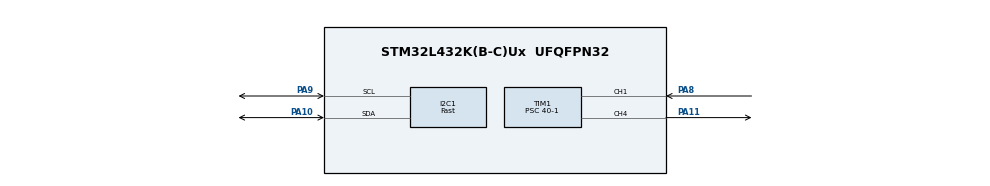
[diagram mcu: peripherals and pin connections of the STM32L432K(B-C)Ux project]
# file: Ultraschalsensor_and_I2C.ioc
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Dma.Request0=TIM1_CH4/TRIG/COM
Dma.TIM1_CH4/TRIG/COM.0.Direction=DMA_MEMORY_TO_PERIPH
Dma.TIM1_CH4/TRIG/COM.0.Instance=DMA1_Channel4
Dma.TIM1_CH4/TRIG/COM.0.MemDataAlignment=DMA_MDATAALIGN_HALFWORD
Dma.TIM1_CH4/TRIG/COM.0.MemInc=DMA_MINC_ENABLE
Dma.TIM1_CH4/TRIG/COM.0.Mode=DMA_NORMAL
Dma.TIM1_CH4/TRIG/COM.0.PeriphDataAlignment=DMA_PDATAALIGN_HALFWORD
Dma.TIM1_CH4/TRIG/COM.0.PeriphInc=DMA_PINC_DISABLE
Dma.TIM1_CH4/TRIG/COM.0.Priority=DMA_PRIORITY_LOW
I2C1.I2C_Fall_Time=0
I2C1.I2C_Rise_Time=0
I2C1.I2C_Speed_Mode=I2C_Fast
I2C1.OwnAddress=0x28
I2C1.Timing=0x00000004
Mcu.Family=STM32L4
Mcu.Name=STM32L432K(B-C)Ux
Mcu.Package=UFQFPN32
NVIC.DMA1_Channel4_IRQn=true\:0\:0\:false\:false\:true\:false\:true\:true
NVIC.I2C1_EV_IRQn=true\:0\:0\:false\:false\:true\:true\:true\:true
NVIC.PriorityGroup=NVIC_PRIORITYGROUP_4
PA10.GPIO_Pu=GPIO_PULLUP
PA10.GPIO_Speed=GPIO_SPEED_FREQ_HIGH
PA10.Mode=I2C
PA10.Signal=I2C1_SDA
PA11.Signal=S_TIM1_CH4
PA8.Signal=S_TIM1_CH1
PA9.GPIO_Pu=GPIO_PULLUP
PA9.GPIO_Speed=GPIO_SPEED_FREQ_HIGH
PA9.Mode=I2C
PA9.Signal=I2C1_SCL
ProjectManager.HeapSize=0x200
ProjectManager.StackSize=0x400
ProjectManager.TargetToolchain=STM32CubeIDE
RCC.HSE_VALUE=8000000
RCC.HSI48_VALUE=48000000
RCC.HSI_VALUE=16000000
RCC.LSE_VALUE=32768
RCC.MSI_VALUE=4000000
RCC.VCOOutputFreq_Value=32000000
SH.S_TIM1_CH1.0=TIM1_CH1,PWM_Input_1
SH.S_TIM1_CH4.0=TIM1_CH4,PWM Generation4 CH4
TIM1.Channel-PWM\ Generation4\ CH4=TIM_CHANNEL_4
TIM1.Period=10000-1
TIM1.Prescaler=40-1
VP_TIM1_VS_ClockSourceINT.Mode=Internal
board=custom

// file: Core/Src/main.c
/* USER CODE BEGIN Header */
/**
  ******************************************************************************
  * @file           : main.c
  * @brief          : Main program body
  ******************************************************************************
  * @attention
  *
  * Copyright (c) 2023 STMicroelectronics.
  * All rights reserved.
  *
  * This software is licensed under terms that can be found in the LICENSE file
  * in the root directory of this software component.
  * If no LICENSE file comes with this software, it is provided AS-IS.
  *
  ******************************************************************************
  */
/* USER CODE END Header */
#include "main.h"

I2C_HandleTypeDef hi2c1;

TIM_HandleTypeDef htim1;
DMA_HandleTypeDef hdma_tim1_ch4_trig_com;

/* USER CODE BEGIN PV */
// distanze var
uint32_t distance_mm;
// DATA Buffer to send
uint8_t I2C_Buffer [4];
/* USER CODE END PV */

void SystemClock_Config(void);
static void MX_GPIO_Init(void);
static void MX_DMA_Init(void);
static void MX_TIM1_Init(void);
static void MX_I2C1_Init(void);

/* USER CODE BEGIN 0 */
void HAL_TIM_IC_CaptureCallback(TIM_HandleTypeDef *htim)
{
	if ((htim->Instance == TIM1) && (htim->Channel == HAL_TIM_ACTIVE_CHANNEL_2))
	{ // timer counter counts 10μs
		uint32_t lo = HAL_TIM_ReadCapturedValue( htim, TIM_CHANNEL_2 );
		distance_mm = ((343.2 * 1000) * (lo * 0.00001))/2;
	}
}
void processMasterRequest(void)
{
	// chance datatype from uint32_t into uint8_t
	// the uint32_t var can now send Byte by Byte
	I2C_Buffer[0] = (distance_mm >> 24) & 0xFF;
	I2C_Buffer[1] = (distance_mm >> 16) & 0xFF;
	I2C_Buffer[2] = (distance_mm >> 8) & 0xFF;
	I2C_Buffer[3] = distance_mm & 0xFF;
	// send data
	HAL_I2C_Slave_Transmit(&hi2c1, I2C_Buffer, 4, HAL_MAX_DELAY);
}
/* USER CODE END 0 */

int main(void)
{

  /* MCU Configuration--------------------------------------------------------*/

  /* Reset of all peripherals, Initializes the Flash interface and the Systick. */
  HAL_Init();

  /* Configure the system clock */
  SystemClock_Config();

  /* Initialize all configured peripherals */
  MX_GPIO_Init();
  MX_DMA_Init();
  MX_TIM1_Init();
  MX_I2C1_Init();
  /* USER CODE BEGIN 2 */
  // Duty cycle von 10 Prozent
  TIM1->CCR4 = 8000;

  // startet timer auf chanel 4
  HAL_TIM_PWM_Start(&htim1, TIM_CHANNEL_4);

  // startet timer auf chanel 1 und 2
  HAL_TIM_IC_Start(&htim1, TIM_CHANNEL_1);
  HAL_TIM_IC_Start_IT(&htim1, TIM_CHANNEL_2);
  /* USER CODE END 2 */

  /* Infinite loop */
  while (1)
  {

    /* USER CODE BEGIN 3 */
	  // checks if this Board is collectet
	  if (HAL_I2C_Slave_Transmit(&hi2c1, I2C_Buffer, sizeof(I2C_Buffer), HAL_MAX_DELAY) == HAL_OK)
	  {
		  processMasterRequest();
	  }
  }
  /* USER CODE END 3 */
}

void SystemClock_Config(void)
{
  RCC_OscInitTypeDef RCC_OscInitStruct = {0};
  RCC_ClkInitTypeDef RCC_ClkInitStruct = {0};

  /** Configure the main internal regulator output voltage
  */
  if (HAL_PWREx_ControlVoltageScaling(PWR_REGULATOR_VOLTAGE_SCALE1) != HAL_OK)
  {
    Error_Handler();
  }

  /** Initializes the RCC Oscillators according to the specified parameters
  * in the RCC_OscInitTypeDef structure.
  */
  RCC_OscInitStruct.OscillatorType = RCC_OSCILLATORTYPE_MSI;
  RCC_OscInitStruct.MSIState = RCC_MSI_ON;
  RCC_OscInitStruct.MSICalibrationValue = 0;
  RCC_OscInitStruct.MSIClockRange = RCC_MSIRANGE_6;
  RCC_OscInitStruct.PLL.PLLState = RCC_PLL_NONE;
  if (HAL_RCC_OscConfig(&RCC_OscInitStruct) != HAL_OK)
  {
    Error_Handler();
  }

  /** Initializes the CPU, AHB and APB buses clocks
  */
  RCC_ClkInitStruct.ClockType = RCC_CLOCKTYPE_HCLK|RCC_CLOCKTYPE_SYSCLK
                              |RCC_CLOCKTYPE_PCLK1|RCC_CLOCKTYPE_PCLK2;
  RCC_ClkInitStruct.SYSCLKSource = RCC_SYSCLKSOURCE_MSI;
  RCC_ClkInitStruct.AHBCLKDivider = RCC_SYSCLK_DIV1;
  RCC_ClkInitStruct.APB1CLKDivider = RCC_HCLK_DIV1;
  RCC_ClkInitStruct.APB2CLKDivider = RCC_HCLK_DIV1;

  if (HAL_RCC_ClockConfig(&RCC_ClkInitStruct, FLASH_LATENCY_0) != HAL_OK)
  {
    Error_Handler();
  }
}

static void MX_I2C1_Init(void)
{

  hi2c1.Instance = I2C1;
  hi2c1.Init.Timing = 0x00000004;
  hi2c1.Init.OwnAddress1 = 80;
  hi2c1.Init.AddressingMode = I2C_ADDRESSINGMODE_7BIT;
  hi2c1.Init.DualAddressMode = I2C_DUALADDRESS_DISABLE;
  hi2c1.Init.OwnAddress2 = 0;
  hi2c1.Init.OwnAddress2Masks = I2C_OA2_NOMASK;
  hi2c1.Init.GeneralCallMode = I2C_GENERALCALL_DISABLE;
  hi2c1.Init.NoStretchMode = I2C_NOSTRETCH_DISABLE;
  if (HAL_I2C_Init(&hi2c1) != HAL_OK)
  {
    Error_Handler();
  }

  /** Configure Analogue filter
  */
  if (HAL_I2CEx_ConfigAnalogFilter(&hi2c1, I2C_ANALOGFILTER_ENABLE) != HAL_OK)
  {
    Error_Handler();
  }

  /** Configure Digital filter
  */
  if (HAL_I2CEx_ConfigDigitalFilter(&hi2c1, 0) != HAL_OK)
  {
    Error_Handler();
  }

}

static void MX_TIM1_Init(void)
{

  TIM_ClockConfigTypeDef sClockSourceConfig = {0};
  TIM_SlaveConfigTypeDef sSlaveConfig = {0};
  TIM_IC_InitTypeDef sConfigIC = {0};
  TIM_MasterConfigTypeDef sMasterConfig = {0};
  TIM_OC_InitTypeDef sConfigOC = {0};
  TIM_BreakDeadTimeConfigTypeDef sBreakDeadTimeConfig = {0};

  htim1.Instance = TIM1;
  htim1.Init.Prescaler = 40-1;
  htim1.Init.CounterMode = TIM_COUNTERMODE_UP;
  htim1.Init.Period = 10000-1;
  htim1.Init.ClockDivision = TIM_CLOCKDIVISION_DIV1;
  htim1.Init.RepetitionCounter = 0;
  htim1.Init.AutoReloadPreload = TIM_AUTORELOAD_PRELOAD_DISABLE;
  if (HAL_TIM_Base_Init(&htim1) != HAL_OK)
  {
    Error_Handler();
  }
  sClockSourceConfig.ClockSource = TIM_CLOCKSOURCE_INTERNAL;
  if (HAL_TIM_ConfigClockSource(&htim1, &sClockSourceConfig) != HAL_OK)
  {
    Error_Handler();
  }
  if (HAL_TIM_PWM_Init(&htim1) != HAL_OK)
  {
    Error_Handler();
  }
  if (HAL_TIM_IC_Init(&htim1) != HAL_OK)
  {
    Error_Handler();
  }
  sSlaveConfig.SlaveMode = TIM_SLAVEMODE_RESET;
  sSlaveConfig.InputTrigger = TIM_TS_TI1FP1;
  sSlaveConfig.TriggerPolarity = TIM_INPUTCHANNELPOLARITY_RISING;
  sSlaveConfig.TriggerPrescaler = TIM_ICPSC_DIV1;
  sSlaveConfig.TriggerFilter = 0;
  if (HAL_TIM_SlaveConfigSynchro(&htim1, &sSlaveConfig) != HAL_OK)
  {
    Error_Handler();
  }
  sConfigIC.ICPolarity = TIM_INPUTCHANNELPOLARITY_RISING;
  sConfigIC.ICSelection = TIM_ICSELECTION_DIRECTTI;
  sConfigIC.ICPrescaler = TIM_ICPSC_DIV1;
  sConfigIC.ICFilter = 0;
  if (HAL_TIM_IC_ConfigChannel(&htim1, &sConfigIC, TIM_CHANNEL_1) != HAL_OK)
  {
    Error_Handler();
  }
  sConfigIC.ICPolarity = TIM_INPUTCHANNELPOLARITY_FALLING;
  sConfigIC.ICSelection = TIM_ICSELECTION_INDIRECTTI;
  if (HAL_TIM_IC_ConfigChannel(&htim1, &sConfigIC, TIM_CHANNEL_2) != HAL_OK)
  {
    Error_Handler();
  }
  sMasterConfig.MasterOutputTrigger = TIM_TRGO_RESET;
  sMasterConfig.MasterOutputTrigger2 = TIM_TRGO2_RESET;
  sMasterConfig.MasterSlaveMode = TIM_MASTERSLAVEMODE_DISABLE;
  if (HAL_TIMEx_MasterConfigSynchronization(&htim1, &sMasterConfig) != HAL_OK)
  {
    Error_Handler();
  }
  sConfigOC.OCMode = TIM_OCMODE_PWM1;
  sConfigOC.Pulse = 0;
  sConfigOC.OCPolarity = TIM_OCPOLARITY_HIGH;
  sConfigOC.OCFastMode = TIM_OCFAST_DISABLE;
  sConfigOC.OCIdleState = TIM_OCIDLESTATE_RESET;
  sConfigOC.OCNIdleState = TIM_OCNIDLESTATE_RESET;
  if (HAL_TIM_PWM_ConfigChannel(&htim1, &sConfigOC, TIM_CHANNEL_4) != HAL_OK)
  {
    Error_Handler();
  }
  sBreakDeadTimeConfig.OffStateRunMode = TIM_OSSR_DISABLE;
  sBreakDeadTimeConfig.OffStateIDLEMode = TIM_OSSI_DISABLE;
  sBreakDeadTimeConfig.LockLevel = TIM_LOCKLEVEL_OFF;
  sBreakDeadTimeConfig.DeadTime = 0;
  sBreakDeadTimeConfig.BreakState = TIM_BREAK_DISABLE;
  sBreakDeadTimeConfig.BreakPolarity = TIM_BREAKPOLARITY_HIGH;
  sBreakDeadTimeConfig.BreakFilter = 0;
  sBreakDeadTimeConfig.Break2State = TIM_BREAK2_DISABLE;
  sBreakDeadTimeConfig.Break2Polarity = TIM_BREAK2POLARITY_HIGH;
  sBreakDeadTimeConfig.Break2Filter = 0;
  sBreakDeadTimeConfig.AutomaticOutput = TIM_AUTOMATICOUTPUT_DISABLE;
  if (HAL_TIMEx_ConfigBreakDeadTime(&htim1, &sBreakDeadTimeConfig) != HAL_OK)
  {
    Error_Handler();
  }
  HAL_TIM_MspPostInit(&htim1);

}

static void MX_DMA_Init(void)
{

  /* DMA controller clock enable */
  __HAL_RCC_DMA1_CLK_ENABLE();

  /* DMA interrupt init */
  /* DMA1_Channel4_IRQn interrupt configuration */
  HAL_NVIC_SetPriority(DMA1_Channel4_IRQn, 0, 0);
  HAL_NVIC_EnableIRQ(DMA1_Channel4_IRQn);

}

static void MX_GPIO_Init(void)
{

  /* GPIO Ports Clock Enable */
  __HAL_RCC_GPIOA_CLK_ENABLE();

}

void Error_Handler(void)
{
  __disable_irq();
  while (1)
  {
  }
}
